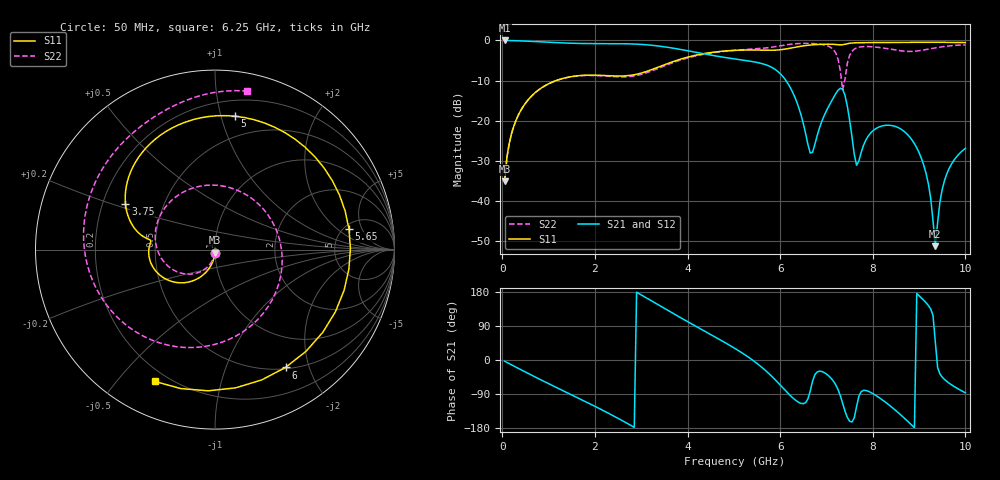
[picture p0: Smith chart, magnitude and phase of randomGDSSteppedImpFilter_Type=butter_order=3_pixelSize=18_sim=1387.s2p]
! freq	dB(S11)	phase(S11)	dB(S12)	phase(S12)
!  dB(S21)	phase(S21)	dB(S22)	phase(S22)
!S-par simulation data
#  GHz  S  DB  R 50
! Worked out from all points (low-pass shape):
!   200 points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, 50 MHz to 10 GHz, reference 50 ohm
!   highest |S21| = -0.01 dB at 50 MHz (marker M1); lowest = -51.2 dB at 9.35 GHz (marker M2)
!   |S21| within 3 dB of the highest: start of sweep to 4.203 GHz
!   lowest |S11| = -35.1 dB at 50 MHz (marker M3), VSWR 1.04, Z = 49.9 - j1.75 ohm
!   |S11| at or under -10 dB: start of sweep to 1.158 GHz
!   |S22| runs from -35.1 to -0.7 dB; largest |S21 - S12| = 0
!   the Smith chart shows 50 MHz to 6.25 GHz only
!   S11 on the Smith chart (normalised r, x): 50 MHz: 1.00, -0.04; 3.75 GHz: 0.30, +0.22; 5 GHz: 0.32, +1.11; 5.65 GHz: 5.56, +2.95; 6 GHz: 0.52, -1.64; 6.25 GHz: 0.15, -0.63
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0.05  -35.11 -92.5  -0.01 -3.3  -0.01 -3.3  -35.13 -93.6
0.5  -15.63 -116.8  -0.16 -31.8  -0.16 -31.8  -15.65 -127.7
1.75  -8.69 -171.0  -0.77 -107.1  -0.77 -107.1  -8.76 136.1
3.4  -6.50 164.2  -1.43 143.4  -1.43 143.4  -6.79 -58.9
3.75  -5.02 152.8  -2.04 118.6  -2.04 118.6  -5.26 -97.1
5  -2.48 81.5  -4.58 32.2  -4.58 32.2  -2.48 162.4
5.05  -2.45 77.4  -4.66 28.5  -4.66 28.5  -2.43 159.1
5.65  -2.44 8.7  -5.91 -24.1  -5.91 -24.1  -1.91 120.6
6  -2.33 -59.1  -8.26 -65.8  -8.26 -65.8  -1.35 97.7
6.25  -1.86 -114.6  -12.44 -97.3  -12.44 -97.3  -0.91 78.5
6.7  -1.09 168.7  -27.83 -55.8  -27.83 -55.8  -0.78 37.8
7.1  -0.95 126.8  -15.30 -48.1  -15.30 -48.1  -1.79 -14.7
7.3  -1.11 112.3  -11.88 -94.4  -11.88 -94.4  -7.63 -91.6
7.5  -0.70 100.3  -19.83 -161.6  -19.83 -161.6  -3.71 49.7
7.65  -0.58 90.2  -31.07 -123.1  -31.07 -123.1  -1.86 8.4
7.8  -0.55 81.1  -26.11 -80.1  -26.11 -80.1  -1.54 -17.3
8.35  -0.50 52.5  -21.12 -118.6  -21.12 -118.6  -2.12 -99.3
8.8  -0.47 32.1  -24.07 -166.9  -24.07 -166.9  -2.74 174.0
9.15  -0.45 17.3  -33.08 151.1  -33.08 151.1  -2.28 103.7
9.35  -0.46 9.1  -51.22 49.2  -51.22 49.2  -1.85 70.5
9.55  -0.47 1.2  -34.85 -51.5  -34.85 -51.5  -1.50 42.9
10  -0.54 -16.0  -26.86 -86.6  -26.86 -86.6  -1.09 -4.1
